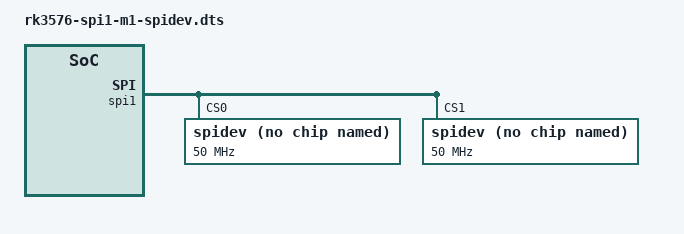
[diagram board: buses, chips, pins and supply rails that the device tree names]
// SPDX-License-Identifier: (GPL-2.0+ OR MIT)

/dts-v1/;
/plugin/;
#include <dt-bindings/pinctrl/rockchip.h>
#include <dt-bindings/gpio/gpio.h>

/ {
	fragment@0 {
		target = <&spi1>;

		__overlay__ {
			#address-cells = <1>;
			#size-cells = <0>;
			status = "okay";
			pinctrl-names = "default";
			pinctrl-0 = <&spi1m1_csn0 &spi1m1_csn1 &spi1m1_pins>;
			num-cs = <2>;

			spidev@0 {
				compatible = "spidev";
				reg = <0>;
				spi-max-frequency = <50000000>;
				status = "okay";
			};

			spidev@1 {
				compatible = "spidev";
				reg = <1>;
				spi-max-frequency = <50000000>;
				status = "okay";
			};
		};
	};
};
